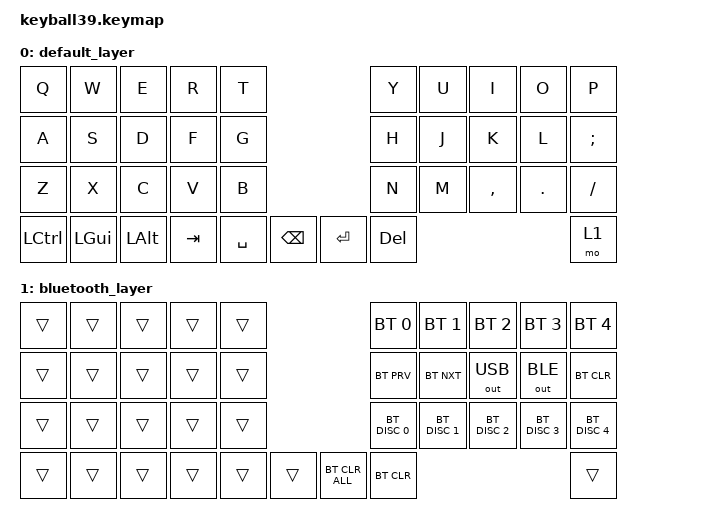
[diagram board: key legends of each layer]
// This file was generated from a template. Edit it to match your keyboard.
// See https://zmk.dev/docs/development/hardware-integration/new-shield for more instructions.

#include <behaviors.dtsi>
#include <dt-bindings/zmk/keys.h>
#include <dt-bindings/zmk/bt.h>
#include <dt-bindings/zmk/outputs.h>
#include <dt-bindings/zmk/pointing.h>

/ {
    keymap {
        compatible = "zmk,keymap";

        default_layer {
            bindings = <
                &kp Q     &kp W     &kp E     &kp R     &kp T               &kp Y     &kp U     &kp I     &kp O     &kp P
                &kp A     &kp S     &kp D     &kp F     &kp G               &kp H     &kp J     &kp K     &kp L     &kp SEMI
                &kp Z     &kp X     &kp C     &kp V     &kp B               &kp N     &kp M     &kp COMMA &kp DOT   &kp FSLH
                &kp LCTRL &kp LGUI  &kp LALT  &kp TAB   &kp SPACE &kp BSPC  &kp RET   &kp DEL                       &mo 1
            >;
        };

        bluetooth_layer {
            bindings = <
                &trans &trans &trans &trans &trans            &bt BT_SEL 0 &bt BT_SEL 1 &bt BT_SEL 2 &bt BT_SEL 3 &bt BT_SEL 4
                &trans &trans &trans &trans &trans            &bt BT_PRV   &bt BT_NXT   &out OUT_USB &out OUT_BLE  &bt BT_CLR
                &trans &trans &trans &trans &trans            &bt BT_DISC 0 &bt BT_DISC 1 &bt BT_DISC 2 &bt BT_DISC 3 &bt BT_DISC 4
                &trans &trans &trans &trans &trans &trans     &bt BT_CLR_ALL &bt BT_CLR  &trans
            >;
        };
    };
};
